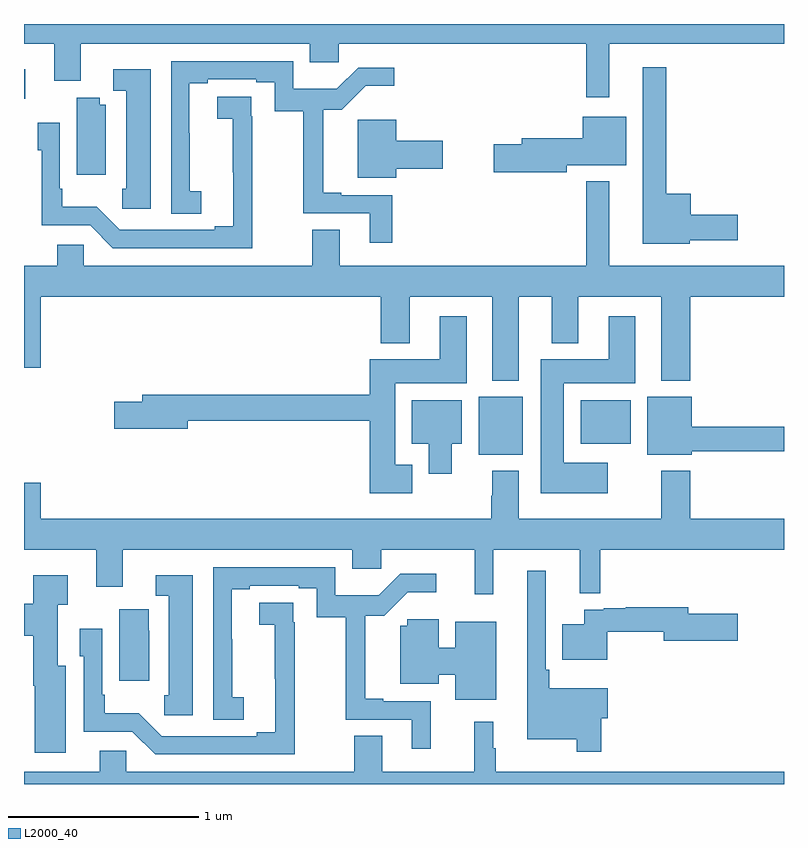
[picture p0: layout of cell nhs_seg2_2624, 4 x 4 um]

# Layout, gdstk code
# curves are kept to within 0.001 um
import gdstk
lib = gdstk.Library(unit=1e-6, precision=1e-09)
def R(c, l, rs):  # rectangles x0, y0, x1, y1
    for r in rs: c.add(gdstk.rectangle(r[:2], r[2:], *l))
def P(c, l, *ps):  # polygons
    for p in ps: c.add(gdstk.Polygon(p, *l))
L2000_40 = (2000, 40)

nhs_seg2_2624 = lib.new_cell('nhs_seg2_2624')
R(nhs_seg2_2624, L2000_40, [(251.393,585.533,251.626,585.838), (251.93,585.59,252.193,585.82), (249,587.407,249.007,587.563)])
P(nhs_seg2_2624, L2000_40, [(252.079,587.696),(253,587.696),(253,587.8),(249,587.8),(249,587.696),(249.158,587.696),(249.158,587.502),(249.298,587.502),(249.298,587.696),(250.505,587.696),(250.505,587.598),(250.657,587.598),(250.657,587.696),(251.958,587.696),(251.958,587.415),(252.079,587.415)],
  [(250.937,586.899),(250.669,586.899),(250.669,586.912),(250.574,586.912),(250.574,587.349),(250.673,587.349),(250.799,587.474),(250.948,587.474),(250.948,587.571),(250.758,587.571),(250.645,587.458),(250.416,587.458),(250.416,587.604),(249.774,587.604),(249.774,586.801),(249.934,586.801),(249.934,586.921),(249.873,586.921),(249.873,587.225),(249.871,587.225),(249.871,587.488),(249.967,587.488),(249.967,587.508),(250.223,587.508),(250.223,587.494),(250.32,587.494),(250.32,587.341),(250.471,587.341),(250.471,586.803),(250.82,586.803),(250.82,586.65),(250.937,586.65)],
  [(252.504,586.661),(252.757,586.661),(252.757,586.796),(252.508,586.796),(252.508,586.906),(252.379,586.906),(252.379,587.572),(252.257,587.572),(252.257,586.643),(252.504,586.643)],
  [(249.667,587.563),(249.471,587.563),(249.471,587.448),(249.539,587.448),(249.539,586.932),(249.517,586.932),(249.517,586.827),(249.667,586.827)],
  [(250.202,587.315),(250.196,587.315),(250.196,587.417),(250.017,587.417),(250.017,587.302),(250.099,587.302),(250.1,586.736),(250.004,586.736),(250.004,586.716),(249.504,586.716),(249.383,586.837),(249.202,586.837),(249.202,586.933),(249.189,586.933),(249.189,587.281),(249.072,587.281),(249.072,587.136),(249.093,587.136),(249.093,586.74),(249.348,586.74),(249.468,586.62),(250.202,586.62)],
  [(249.43,587.374),(249.398,587.374),(249.398,587.411),(249.278,587.411),(249.278,587.007),(249.43,587.007)],
  [(251.856,587.057),(252.169,587.057),(252.169,587.311),(251.942,587.311),(251.942,587.198),(251.621,587.198),(251.621,587.168),(251.472,587.168),(251.472,587.021),(251.856,587.021)],
  [(250.96,587.039),(251.203,587.039),(251.203,587.186),(250.96,587.186),(250.96,587.296),(250.757,587.296),(250.757,586.991),(250.96,586.991)],
  [(250.663,586.718),(250.516,586.718),(250.516,586.528),(249.315,586.528),(249.315,586.638),(249.176,586.638),(249.176,586.528),(249,586.528),(249,585.99),(249.088,585.99),(249.088,586.364),(250.877,586.364),(250.877,586.121),(251.029,586.121),(251.029,586.364),(251.465,586.364),(251.465,585.923),(251.605,585.923),(251.605,586.364),(251.777,586.364),(251.777,586.121),(251.917,586.121),(251.917,586.364),(252.353,586.364),(252.353,585.923),(252.506,585.923),(252.506,586.364),(253,586.364),(253,586.528),(252.079,586.528),(252.079,586.972),(251.958,586.972),(251.958,586.528),(250.663,586.528)],
  [(251.044,585.481),(250.954,585.481),(250.954,585.908),(251.329,585.908),(251.329,586.261),(251.189,586.261),(251.189,586.036),(250.82,586.036),(250.82,585.848),(249.623,585.848),(249.623,585.812),(249.474,585.812),(249.474,585.67),(249.862,585.67),(249.862,585.712),(250.82,585.712),(250.82,585.329),(251.044,585.329)],
  [(252.073,585.49),(251.842,585.49),(251.842,585.908),(252.217,585.908),(252.217,586.261),(252.077,586.261),(252.077,586.036),(251.72,586.036),(251.72,585.329),(252.073,585.329)],
  [(252.514,585.552),(253,585.552),(253,585.68),(252.514,585.68),(252.514,585.838),(252.281,585.838),(252.281,585.533),(252.514,585.533)],
  [(251.251,585.59),(251.305,585.59),(251.305,585.82),(251.042,585.82),(251.042,585.59),(251.129,585.59),(251.129,585.432),(251.251,585.432)],
  [(251.471,585.032),(251.924,585.032),(251.924,584.803),(252.032,584.803),(252.032,585.032),(253,585.032),(253,585.196),(252.506,585.196),(252.506,585.448),(252.353,585.448),(252.353,585.196),(251.605,585.196),(251.605,585.448),(251.465,585.448),(251.465,585.317),(251.458,585.317),(251.458,585.196),(249.088,585.196),(249.088,585.385),(249,585.385),(249,585.032),(249.38,585.032),(249.38,584.838),(249.52,584.838),(249.52,585.032),(250.727,585.032),(250.727,584.934),(250.879,584.934),(250.879,585.032),(251.372,585.032),(251.372,584.799),(251.471,584.799)],
  [(251.142,584.235),(250.891,584.235),(250.891,584.248),(250.796,584.248),(250.796,584.685),(250.895,584.685),(251.021,584.81),(251.17,584.81),(251.17,584.907),(250.98,584.907),(250.867,584.794),(250.638,584.794),(250.638,584.94),(249.996,584.94),(249.996,584.137),(250.156,584.137),(250.156,584.257),(250.095,584.257),(250.095,584.561),(250.093,584.561),(250.093,584.824),(250.189,584.824),(250.189,584.844),(250.445,584.844),(250.445,584.83),(250.542,584.83),(250.542,584.677),(250.693,584.677),(250.693,584.139),(251.042,584.139),(251.042,583.986),(251.142,583.986)],
  [(252.038,584.147),(252.073,584.147),(252.073,584.305),(251.765,584.305),(251.765,584.401),(251.745,584.401),(251.745,584.923),(251.648,584.923),(251.648,584.036),(251.91,584.036),(251.91,583.971),(252.038,583.971)],
  [(249.889,584.899),(249.693,584.899),(249.693,584.791),(249.761,584.791),(249.761,584.268),(249.739,584.268),(249.739,584.163),(249.889,584.163)],
  [(249.22,584.422),(249.178,584.422),(249.178,584.743),(249.229,584.743),(249.229,584.899),(249.049,584.899),(249.049,584.749),(249,584.749),(249,584.579),(249.049,584.579),(249.049,584.318),(249.056,584.318),(249.056,583.965),(249.22,583.965)],
  [(250.424,584.651),(250.418,584.651),(250.418,584.753),(250.239,584.753),(250.239,584.638),(250.321,584.638),(250.322,584.072),(250.226,584.072),(250.226,584.052),(249.726,584.052),(249.605,584.173),(249.424,584.173),(249.424,584.269),(249.411,584.269),(249.411,584.617),(249.294,584.617),(249.294,584.472),(249.315,584.472),(249.315,584.076),(249.57,584.076),(249.69,583.956),(250.424,583.956)],
  [(252.07,584.602),(252.368,584.602),(252.368,584.555),(252.757,584.555),(252.757,584.697),(252.496,584.697),(252.496,584.731),(252.166,584.731),(252.166,584.724),(252.052,584.724),(252.052,584.718),(251.948,584.718),(251.948,584.641),(251.834,584.641),(251.834,584.453),(252.07,584.453)],
  [(249.658,584.606),(249.656,584.606),(249.656,584.719),(249.5,584.719),(249.5,584.343),(249.658,584.343)],
  [(251.485,584.653),(251.27,584.653),(251.27,584.517),(251.182,584.517),(251.182,584.668),(251.016,584.668),(251.016,584.632),(250.979,584.632),(250.979,584.327),(251.182,584.327),(251.182,584.375),(251.27,584.375),(251.27,584.243),(251.485,584.243)],
  [(253,583.864),(251.482,583.864),(251.482,583.988),(251.47,583.988),(251.47,584.128),(251.371,584.128),(251.371,583.864),(250.885,583.864),(250.885,584.054),(250.738,584.054),(250.738,583.864),(249.537,583.864),(249.537,583.974),(249.398,583.974),(249.398,583.864),(249,583.864),(249,583.8),(253,583.8)])

lib.write_gds('nhs_seg2_2624.gds')
